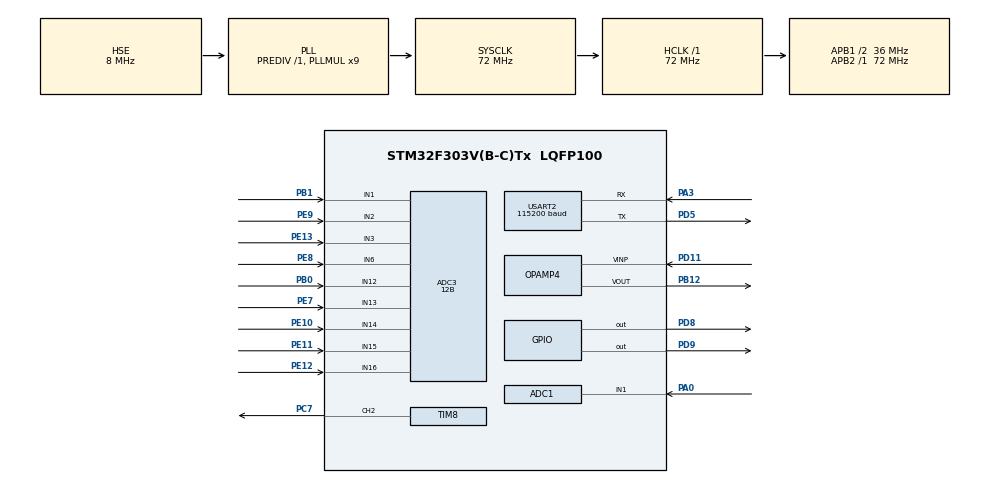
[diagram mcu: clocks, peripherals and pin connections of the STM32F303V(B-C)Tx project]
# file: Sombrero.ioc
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ADC1.Channel-0\#ChannelRegularConversion=ADC_CHANNEL_1
ADC1.ClockPrescaler=ADC_CLOCK_SYNC_PCLK_DIV2
ADC1.ContinuousConvMode=ENABLE
ADC1.DMAContinuousRequests=ENABLE
ADC1.DataAlign=ADC_DATAALIGN_RIGHT
ADC1.DiscontinuousConvMode=DISABLE
ADC1.EOCSelection=ADC_EOC_SEQ_CONV
ADC1.EnableAnalogWatchDog1=false
ADC1.EnableAnalogWatchDog2=false
ADC1.EnableAnalogWatchDog3=false
ADC1.EnableInjectedConversion=DISABLE
ADC1.EnableRegularConversion=ENABLE
ADC1.ExternalTrigConv=ADC_EXTERNALTRIGCONV_T8_TRGO2
ADC1.ExternalTrigConvEdge=ADC_EXTERNALTRIGCONVEDGE_RISING
ADC1.LowPowerAutoWait=DISABLE
ADC1.NbrOfConversion=1
ADC1.NbrOfConversionFlag=1
ADC1.Offset-0\#ChannelRegularConversion=0
ADC1.OffsetNumber-0\#ChannelRegularConversion=ADC_OFFSET_NONE
ADC1.Overrun=ADC_OVR_DATA_OVERWRITTEN
ADC1.Rank-0\#ChannelRegularConversion=1
ADC1.Resolution=ADC_RESOLUTION_12B
ADC1.SamplingTime-0\#ChannelRegularConversion=ADC_SAMPLETIME_601CYCLES_5
ADC1.ScanConvMode=ADC_SCAN_DISABLE
ADC1.master=1
ADC3.Channel-0\#ChannelRegularConversion=ADC_CHANNEL_3
ADC3.Channel-1\#ChannelRegularConversion=ADC_CHANNEL_16
ADC3.Channel-2\#ChannelRegularConversion=ADC_CHANNEL_15
ADC3.Channel-3\#ChannelRegularConversion=ADC_CHANNEL_14
ADC3.Channel-4\#ChannelRegularConversion=ADC_CHANNEL_2
ADC3.Channel-5\#ChannelRegularConversion=ADC_CHANNEL_6
ADC3.Channel-6\#ChannelRegularConversion=ADC_CHANNEL_13
ADC3.Channel-7\#ChannelRegularConversion=ADC_CHANNEL_1
ADC3.Channel-8\#ChannelRegularConversion=ADC_CHANNEL_12
ADC3.ClockPrescaler=ADC_CLOCK_SYNC_PCLK_DIV2
ADC3.ContinuousConvMode=ENABLE
ADC3.DMAContinuousRequests=ENABLE
ADC3.DataAlign=ADC_DATAALIGN_RIGHT
ADC3.DiscontinuousConvMode=DISABLE
ADC3.EOCSelection=ADC_EOC_SEQ_CONV
ADC3.EnableAnalogWatchDog1=false
ADC3.EnableAnalogWatchDog2=false
ADC3.EnableAnalogWatchDog3=false
ADC3.EnableInjectedConversion=DISABLE
ADC3.EnableRegularConversion=ENABLE
ADC3.ExternalTrigConv=ADC_EXTERNALTRIGCONV_T8_TRGO2
ADC3.ExternalTrigConvEdge=ADC_EXTERNALTRIGCONVEDGE_RISING
ADC3.LowPowerAutoWait=DISABLE
ADC3.NbrOfConversion=9
ADC3.NbrOfConversionFlag=1
ADC3.Offset-0\#ChannelRegularConversion=0
ADC3.Offset-1\#ChannelRegularConversion=0
ADC3.Offset-2\#ChannelRegularConversion=0
ADC3.Offset-3\#ChannelRegularConversion=0
ADC3.Offset-4\#ChannelRegularConversion=0
ADC3.Offset-5\#ChannelRegularConversion=0
ADC3.Offset-6\#ChannelRegularConversion=0
ADC3.Offset-7\#ChannelRegularConversion=0
ADC3.Offset-8\#ChannelRegularConversion=0
ADC3.OffsetNumber-0\#ChannelRegularConversion=ADC_OFFSET_NONE
ADC3.OffsetNumber-1\#ChannelRegularConversion=ADC_OFFSET_NONE
ADC3.OffsetNumber-2\#ChannelRegularConversion=ADC_OFFSET_NONE
ADC3.OffsetNumber-3\#ChannelRegularConversion=ADC_OFFSET_NONE
ADC3.OffsetNumber-4\#ChannelRegularConversion=ADC_OFFSET_NONE
ADC3.OffsetNumber-5\#ChannelRegularConversion=ADC_OFFSET_NONE
ADC3.OffsetNumber-6\#ChannelRegularConversion=ADC_OFFSET_NONE
ADC3.OffsetNumber-7\#ChannelRegularConversion=ADC_OFFSET_NONE
ADC3.OffsetNumber-8\#ChannelRegularConversion=ADC_OFFSET_NONE
ADC3.Overrun=ADC_OVR_DATA_OVERWRITTEN
ADC3.Rank-0\#ChannelRegularConversion=1
ADC3.Rank-1\#ChannelRegularConversion=2
ADC3.Rank-2\#ChannelRegularConversion=3
ADC3.Rank-3\#ChannelRegularConversion=4
ADC3.Rank-4\#ChannelRegularConversion=5
ADC3.Rank-5\#ChannelRegularConversion=6
ADC3.Rank-6\#ChannelRegularConversion=7
ADC3.Rank-7\#ChannelRegularConversion=8
ADC3.Rank-8\#ChannelRegularConversion=9
ADC3.Resolution=ADC_RESOLUTION_12B
ADC3.SamplingTime-0\#ChannelRegularConversion=ADC_SAMPLETIME_601CYCLES_5
ADC3.SamplingTime-1\#ChannelRegularConversion=ADC_SAMPLETIME_601CYCLES_5
ADC3.SamplingTime-2\#ChannelRegularConversion=ADC_SAMPLETIME_601CYCLES_5
ADC3.SamplingTime-3\#ChannelRegularConversion=ADC_SAMPLETIME_601CYCLES_5
ADC3.SamplingTime-4\#ChannelRegularConversion=ADC_SAMPLETIME_601CYCLES_5
ADC3.SamplingTime-5\#ChannelRegularConversion=ADC_SAMPLETIME_601CYCLES_5
ADC3.SamplingTime-6\#ChannelRegularConversion=ADC_SAMPLETIME_601CYCLES_5
ADC3.SamplingTime-7\#ChannelRegularConversion=ADC_SAMPLETIME_601CYCLES_5
ADC3.SamplingTime-8\#ChannelRegularConversion=ADC_SAMPLETIME_601CYCLES_5
ADC3.ScanConvMode=ADC_SCAN_ENABLE
ADC3.master=1
Dma.ADC1.0.Direction=DMA_PERIPH_TO_MEMORY
Dma.ADC1.0.Instance=DMA1_Channel1
Dma.ADC1.0.MemDataAlignment=DMA_MDATAALIGN_HALFWORD
Dma.ADC1.0.MemInc=DMA_MINC_ENABLE
Dma.ADC1.0.Mode=DMA_CIRCULAR
Dma.ADC1.0.PeriphDataAlignment=DMA_PDATAALIGN_HALFWORD
Dma.ADC1.0.PeriphInc=DMA_PINC_DISABLE
Dma.ADC1.0.Priority=DMA_PRIORITY_HIGH
Dma.ADC3.1.Direction=DMA_PERIPH_TO_MEMORY
Dma.ADC3.1.Instance=DMA2_Channel5
Dma.ADC3.1.MemDataAlignment=DMA_MDATAALIGN_HALFWORD
Dma.ADC3.1.MemInc=DMA_MINC_ENABLE
Dma.ADC3.1.Mode=DMA_CIRCULAR
Dma.ADC3.1.PeriphDataAlignment=DMA_PDATAALIGN_HALFWORD
Dma.ADC3.1.PeriphInc=DMA_PINC_DISABLE
Dma.ADC3.1.Priority=DMA_PRIORITY_HIGH
Dma.Request0=ADC1
Dma.Request1=ADC3
Mcu.Family=STM32F3
Mcu.Name=STM32F303V(B-C)Tx
Mcu.Package=LQFP100
NVIC.DMA1_Channel1_IRQn=true\:0\:0\:false\:false\:true\:false
NVIC.DMA2_Channel5_IRQn=true\:0\:0\:false\:false\:true\:false
NVIC.PriorityGroup=NVIC_PRIORITYGROUP_4
PA0.Mode=IN1-Single-Ended
PA0.Signal=ADC1_IN1
PA3.Mode=Asynchronous
PA3.Signal=USART2_RX
PB0.Mode=IN12-Single-Ended
PB0.Signal=ADC3_IN12
PB1.Mode=IN1-Single-Ended
PB1.Signal=ADC3_IN1
PB12.Mode=Follower
PB12.Signal=OPAMP4_VOUT
PC14-OSC32_IN.Mode=LSE-External-Oscillator
PC14-OSC32_IN.Signal=RCC_OSC32_IN
PC15-OSC32_OUT.Mode=LSE-External-Oscillator
PC15-OSC32_OUT.Signal=RCC_OSC32_OUT
PC7.Signal=S_TIM8_CH2
PD11.Mode=Follower
PD11.Signal=OPAMP4_VINP
PD5.Mode=Asynchronous
PD5.Signal=USART2_TX
PD8.Signal=GPIO_Output
PD9.Signal=GPIO_Output
PE10.Mode=IN14-Single-Ended
PE10.Signal=ADC3_IN14
PE11.Mode=IN15-Single-Ended
PE11.Signal=ADC3_IN15
PE12.Mode=IN16-Single-Ended
PE12.Signal=ADC3_IN16
PE13.Mode=IN3-Single-Ended
PE13.Signal=ADC3_IN3
PE7.Mode=IN13-Single-Ended
PE7.Signal=ADC3_IN13
PE8.Signal=ADCx_IN6P
PE9.Mode=IN2-Single-Ended
PE9.Signal=ADC3_IN2
PF0-OSC_IN.Mode=HSE-External-Oscillator
PF0-OSC_IN.Signal=RCC_OSC_IN
PF1-OSC_OUT.Mode=HSE-External-Oscillator
PF1-OSC_OUT.Signal=RCC_OSC_OUT
ProjectManager.HeapSize=0x200
ProjectManager.StackSize=0x400
ProjectManager.TargetToolchain=Makefile
RCC.AHBFreq_Value=72000000
RCC.APB1CLKDivider=RCC_HCLK_DIV2
RCC.APB1Freq_Value=36000000
RCC.APB1TimFreq_Value=72000000
RCC.APB2Freq_Value=72000000
RCC.APB2TimFreq_Value=72000000
RCC.CortexFreq_Value=72000000
RCC.HCLKFreq_Value=72000000
RCC.HSE_VALUE=8000000
RCC.HSI_VALUE=8000000
RCC.PLLMUL=RCC_PLL_MUL9
RCC.PLLSourceVirtual=RCC_PLLSOURCE_HSE
RCC.SYSCLKFreq_VALUE=72000000
RCC.SYSCLKSourceVirtual=RCC_SYSCLKSOURCE_PLLCLK
RCC.USBFreq_Value=72000000
RCC.Usart2ClockSelection=RCC_USART2CLKSOURCE_SYSCLK
SH.ADCx_IN6P.0=ADC3_IN6,IN6-Single-Ended
SH.S_TIM8_CH2.0=TIM8_CH2,PWM Generation2 CH2
TIM8.Channel-PWM\ Generation2\ CH2=TIM_CHANNEL_2
TIM8.Period=9999
TIM8.Prescaler=71
TIM8.TIM_MasterOutputTrigger2=TIM_TRGO2_OC2REF
USART2.BaudRate=115200
USART2.VirtualMode-Asynchronous=VM_ASYNC
board=custom

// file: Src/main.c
/**
  ******************************************************************************
  * @file           : main.c
  * @brief          : Main program body
  ******************************************************************************
  ** This notice applies to any and all portions of this file
  * that are not between comment pairs USER CODE BEGIN and
  * USER CODE END. Other portions of this file, whether
  * inserted by the user or by software development tools
  * are owned by their respective copyright owners.
  *
  * COPYRIGHT(c) 2019 STMicroelectronics
  *
  * Redistribution and use in source and binary forms, with or without modification,
  * are permitted provided that the following conditions are met:
  *   1. Redistributions of source code must retain the above copyright notice,
  *      this list of conditions and the following disclaimer.
  *   2. Redistributions in binary form must reproduce the above copyright notice,
  *      this list of conditions and the following disclaimer in the documentation
  *      and/or other materials provided with the distribution.
  *   3. Neither the name of STMicroelectronics nor the names of its contributors
  *      may be used to endorse or promote products derived from this software
  *      without specific prior written permission.
  *
  * THIS SOFTWARE IS PROVIDED BY THE COPYRIGHT HOLDERS AND CONTRIBUTORS "AS IS"
  * AND ANY EXPRESS OR IMPLIED WARRANTIES, INCLUDING, BUT NOT LIMITED TO, THE
  * IMPLIED WARRANTIES OF MERCHANTABILITY AND FITNESS FOR A PARTICULAR PURPOSE ARE
  * DISCLAIMED. IN NO EVENT SHALL THE COPYRIGHT HOLDER OR CONTRIBUTORS BE LIABLE
  * FOR ANY DIRECT, INDIRECT, INCIDENTAL, SPECIAL, EXEMPLARY, OR CONSEQUENTIAL
  * DAMAGES (INCLUDING, BUT NOT LIMITED TO, PROCUREMENT OF SUBSTITUTE GOODS OR
  * SERVICES; LOSS OF USE, DATA, OR PROFITS; OR BUSINESS INTERRUPTION) HOWEVER
  * CAUSED AND ON ANY THEORY OF LIABILITY, WHETHER IN CONTRACT, STRICT LIABILITY,
  * OR TORT (INCLUDING NEGLIGENCE OR OTHERWISE) ARISING IN ANY WAY OUT OF THE USE
  * OF THIS SOFTWARE, EVEN IF ADVISED OF THE POSSIBILITY OF SUCH DAMAGE.
  *
  ******************************************************************************
  */
#include "main.h"
#include "stm32f3xx_hal.h"
#include "adc.h"
#include "dma.h"
#include "opamp.h"
#include "tim.h"
#include "usart.h"
#include "gpio.h"

/* USER CODE BEGIN Includes */
#define ARM_MATH_CM4
#include "arm_math.h"
#include "ds18b20.h"
#include <math.h>
#include <string.h>
typedef float float32_t;
/* USER CODE END Includes */

/* USER CODE BEGIN PV */
/* Private variables ---------------------------------------------------------*/

#define true 1
#define false 0
#define MID_ADC_READING 2000

// Serial output buffer
char log_buffer[150];

// Flag
uint8_t readings_ready = false;

// Calibration
const float VOLTS_PER_DIV = (3.3 / 4096.0);
float VCAL = 268.97;
float ICAL = 90.9;

// ISR accumulators
typedef struct channel_
{
  uint64_t sum_V_sq;
  uint64_t sum_I_sq;
  int64_t sum_V;
  int64_t sum_I;
  int64_t sum_P;
  uint32_t count;

  uint8_t positive_V;
  uint8_t last_positive_V;
  uint8_t cycles;
} channel_t;

uint32_t pulseCount = 0;

//#define CTn 9 // number of CT channels
static channel_t channels[CTn];
static channel_t channels_copy[CTn];

/* USER CODE END PV */

void SystemClock_Config(void);

/* USER CODE BEGIN PFP */
/* Private function prototypes -----------------------------------------------*/
//#define ARM_MATH_CM4
//#include "arm_math.h"
/* USER CODE END PFP */

/* USER CODE BEGIN 0 */
void process_frame(uint16_t offset)
{
  int32_t sample_V, sample_I, signed_V, signed_I;

  HAL_GPIO_WritePin(GPIOD, GPIO_PIN_8, GPIO_PIN_SET);
  for (int i = 0; i < adc_buff_half_size; i += CTn)
  {
    // Cycle through channels
    for (int ch = 0; ch < CTn; ch++)
    {
      channel_t *channel = &channels[ch];

      // ----------------------------------------
      // Voltage
      //float32_t theresult;
      //arm_rms_f32(float* adc1_dma_buff, uint32_t* sizeof(adc1_dma_buff), float* theresult);
      sample_V = adc1_dma_buff[offset + i + ch];
      signed_V = sample_V - MID_ADC_READING;
      channel->sum_V += signed_V;
      channel->sum_V_sq += signed_V * signed_V;
      // ----------------------------------------
      // Current
      sample_I = adc3_dma_buff[offset + i + ch];
      signed_I = sample_I - MID_ADC_READING;
      channel->sum_I += signed_I;
      channel->sum_I_sq += signed_I * signed_I;
      // ----------------------------------------
      // Power
      channel->sum_P += signed_V * signed_I;

      channel->count++;

      // Zero crossing detection
      channel->last_positive_V = channel->positive_V;
      if (signed_V > 0)
        channel->positive_V = true;
      else
        channel->positive_V = false;
      if (!channel->last_positive_V && channel->positive_V)
        channel->cycles++;

      // 125 cycles or 2.5 seconds
      if (channel->cycles >= 125)
      {
        channel->cycles = 0;

        channel_t *chn = &channels_copy[ch];
        // Copy accumulators for use in main loop
        memcpy((void *)chn, (void *)channel, sizeof(channel_t));
        // Reset accumulators to zero ready for next set of measurements
        memset((void *)channel, 0, sizeof(channel_t));

        if (ch == (CTn - 1))
        {
          readings_ready = true;
          /*
          sprintf(log_buffer, "chn->sum_V_sq:%lld\r\n", chn->sum_V_sq);
          debug_printf(log_buffer);
          sprintf(log_buffer, "chn->sum_I_sq:%lld\r\n", chn->sum_I_sq);
          debug_printf(log_buffer);
          sprintf(log_buffer, "chn->sum_V:%lld\r\n", chn->sum_V);
          debug_printf(log_buffer);
          sprintf(log_buffer, "chn->sum_I:%lld\r\n", chn->sum_I);
          debug_printf(log_buffer);
          sprintf(log_buffer, "chn->sum_P:%lld\r\n", chn->sum_P);
          debug_printf(log_buffer);
          sprintf(log_buffer, "chn->count:%ld\r\n", chn->count);
          debug_printf(log_buffer);
          sprintf(log_buffer, "chn->positive_V:%d\r\n", chn->positive_V);
          debug_printf(log_buffer);
          sprintf(log_buffer, "chn->last_positive_V:%d\r\n", chn->last_positive_V);
          debug_printf(log_buffer);
          sprintf(log_buffer, "chn->cycles:%d\r\n", chn->cycles);
          debug_printf(log_buffer);

            uint32_t sum_V_sq;
            uint32_t sum_I_sq;
            int32_t sum_V;
            int32_t sum_I;
            int32_t sum_P;
            uint32_t count;

            uint8_t positive_V;
            uint8_t last_positive_V;
            uint8_t cycles;
            */
        }
      }
    }
  }
  HAL_GPIO_WritePin(GPIOD, GPIO_PIN_8, GPIO_PIN_RESET);
}

/* USER CODE END 0 */

int main(void)
{
  /* USER CODE BEGIN 1 */
  float V_RATIO = VCAL * VOLTS_PER_DIV;
  float I_RATIO = ICAL * VOLTS_PER_DIV;
  /* USER CODE END 1 */

  /* MCU Configuration----------------------------------------------------------*/

  /* Reset of all peripherals, Initializes the Flash interface and the Systick. */
  HAL_Init();

  /* Configure the system clock */
  SystemClock_Config();

  /* Initialize all configured peripherals */
  MX_GPIO_Init();
  MX_DMA_Init();
  MX_ADC3_Init();
  MX_ADC1_Init();
  MX_TIM8_Init();
  MX_USART2_UART_Init();
  MX_OPAMP4_Init();
  /* USER CODE BEGIN 2 */
  debug_printf("start\r\n");

  HAL_ADCEx_Calibration_Start(&hadc1, ADC_SINGLE_ENDED);
  HAL_ADCEx_Calibration_Start(&hadc3, ADC_SINGLE_ENDED);

  HAL_OPAMP_Start(&hopamp4);

  start_ADCs();

  /* USER CODE END 2 */

  /* Infinite loop */
  /* USER CODE BEGIN WHILE */
  while (1)
  {
    if (adc1_half_conv_complete && !adc1_half_conv_overrun)
    {
      adc1_half_conv_complete = false;
      process_frame(0);
    }

    if (adc1_full_conv_complete && !adc1_full_conv_overrun)
    {
      adc1_full_conv_complete = false;
      process_frame(adc_buff_half_size);
    }

    if (readings_ready)
    {
      readings_ready = false;
      //process_ds18b20s();

      for (int ch = 0; ch < CTn; ch++)
      {
        channel_t *chn = &channels_copy[ch];

        float Vmean = (float)chn->sum_V / (float)chn->count;
        float Imean = (float)chn->sum_I / (float)chn->count;

        float f32sum_V_sq_avg = (float)chn->sum_V_sq / (float)chn->count;
        f32sum_V_sq_avg -= (Vmean * Vmean); // offset removal

        float f32sum_I_sq_avg = (float)chn->sum_I_sq / (float)chn->count;
        f32sum_I_sq_avg -= (Imean * Imean); // offset removal

        if (f32sum_V_sq_avg < 0) // if offset removal cause a negative number,
          f32sum_V_sq_avg = 0;   // make it 0 to avoid a nan at sqrt.
        if (f32sum_I_sq_avg < 0)
          f32sum_I_sq_avg = 0;

        float Vrms = V_RATIO * sqrtf(f32sum_V_sq_avg);
        float Irms = I_RATIO * sqrtf(f32sum_I_sq_avg);

        //float* sqrtV_temp;
        //float* sqrtI_temp;
        //arm_sqrt_f32(f32sum_V_sq_avg, sqrtV_temp);
        //arm_sqrt_f32(f32sum_I_sq_avg, sqrtI_temp);
        //float Vrms = V_RATIO * *sqrtV_temp;
        //float Irms = I_RATIO * *sqrtI_temp;

        float f32_sum_P_avg = (float)chn->sum_P / (float)chn->count;
        float mean_P = f32_sum_P_avg - (Vmean * Imean); // offset removal
        float realPower = V_RATIO * I_RATIO * mean_P;

        float apparentPower = Vrms * Irms;

        float powerFactor;
        // calculate PF, preventing dividing by zero error.
        if (apparentPower != 0)
        {
          powerFactor = realPower / apparentPower;
        }
        else
          powerFactor = 0;

        sprintf(log_buffer, "V%d:%.2f,I%d:%.3f,RP%d:%.1f,AP%d:%.1f,PF%d:%.3f,C%d:%ld,", ch, Vrms, ch, Irms, ch, realPower, ch, apparentPower, ch, powerFactor, ch, chn->count);
        debug_printf(log_buffer);

        uint32_t current_millis = HAL_GetTick();
        sprintf(log_buffer, "millis:%ld\r\n", current_millis);
        debug_printf(log_buffer);

        //ref_rms_f32();
        //sprintf(log_buffer,"\r\n");
        //debug_printf(log_buffer);

      }
      sprintf(log_buffer, "PC:%ld\r\n", pulseCount);
        debug_printf(log_buffer);
    }

    /*
    if (readings_ready)
    {
      readings_ready = false;

      for (int n = 0; n < CTn; n++)
      {
        channel_t *chn = &channels_copy[n];

        float Vmean = chn->sum_V * (1.0 / chn->count);
        float Imean = chn->sum_I * (1.0 / chn->count);

        chn->sum_V_sq *= (1.0 / chn->count);
        chn->sum_V_sq -= (Vmean * Vmean);
        float Vrms = V_RATIO * sqrt((float)chn->sum_V_sq);

        chn->sum_I_sq *= (1.0 / chn->count);
        chn->sum_I_sq -= (Imean * Imean);
        float Irms = I_RATIO * sqrt((float)chn->sum_I_sq);

        float mean_P = (chn->sum_P * (1.0 / chn->count)) - (Vmean * Imean);
        float realPower = V_RATIO * I_RATIO * mean_P;

        float apparentPower = Vrms * Irms;
        float powerFactor = realPower / apparentPower;

        sprintf(log_buffer, "V%d:%.2f,I%d:%.3f,RP%d:%.1f,AP%d:%.1f,PF%d:%.3f,C%d:%ld,", n, Vrms, n, Irms, n, realPower, n, apparentPower, n, powerFactor, n, chn->count);
        debug_printf(log_buffer);

        uint32_t current_millis = HAL_GetTick();
        sprintf(log_buffer, "millis:%ld\r\n", current_millis);
        debug_printf(log_buffer);
        //debug_printf("\r\n");
      }

      //ref_rms_f32();
      //sprintf(log_buffer,"\r\n");
      //debug_printf(log_buffer);

      sprintf(log_buffer, "PC:%ld\r\n", pulseCount);
      debug_printf(log_buffer);
    }
    */
    /* USER CODE END WHILE */

  }
}

void SystemClock_Config(void)
{

  RCC_OscInitTypeDef RCC_OscInitStruct;
  RCC_ClkInitTypeDef RCC_ClkInitStruct;
  RCC_PeriphCLKInitTypeDef PeriphClkInit;

  /**Initializes the CPU, AHB and APB busses clocks
    */
  RCC_OscInitStruct.OscillatorType = RCC_OSCILLATORTYPE_HSE;
  RCC_OscInitStruct.HSEState = RCC_HSE_ON;
  RCC_OscInitStruct.HSEPredivValue = RCC_HSE_PREDIV_DIV1;
  RCC_OscInitStruct.HSIState = RCC_HSI_ON;
  RCC_OscInitStruct.PLL.PLLState = RCC_PLL_ON;
  RCC_OscInitStruct.PLL.PLLSource = RCC_PLLSOURCE_HSE;
  RCC_OscInitStruct.PLL.PLLMUL = RCC_PLL_MUL9;
  if (HAL_RCC_OscConfig(&RCC_OscInitStruct) != HAL_OK)
  {
    _Error_Handler(__FILE__, __LINE__);
  }

  /**Initializes the CPU, AHB and APB busses clocks
    */
  RCC_ClkInitStruct.ClockType = RCC_CLOCKTYPE_HCLK | RCC_CLOCKTYPE_SYSCLK | RCC_CLOCKTYPE_PCLK1 | RCC_CLOCKTYPE_PCLK2;
  RCC_ClkInitStruct.SYSCLKSource = RCC_SYSCLKSOURCE_PLLCLK;
  RCC_ClkInitStruct.AHBCLKDivider = RCC_SYSCLK_DIV1;
  RCC_ClkInitStruct.APB1CLKDivider = RCC_HCLK_DIV2;
  RCC_ClkInitStruct.APB2CLKDivider = RCC_HCLK_DIV1;

  if (HAL_RCC_ClockConfig(&RCC_ClkInitStruct, FLASH_LATENCY_2) != HAL_OK)
  {
    _Error_Handler(__FILE__, __LINE__);
  }

  PeriphClkInit.PeriphClockSelection = RCC_PERIPHCLK_USART2 | RCC_PERIPHCLK_TIM8;
  PeriphClkInit.Usart2ClockSelection = RCC_USART2CLKSOURCE_SYSCLK;
  PeriphClkInit.Tim8ClockSelection = RCC_TIM8CLK_HCLK;
  if (HAL_RCCEx_PeriphCLKConfig(&PeriphClkInit) != HAL_OK)
  {
    _Error_Handler(__FILE__, __LINE__);
  }

  /**Configure the Systick interrupt time
    */
  HAL_SYSTICK_Config(HAL_RCC_GetHCLKFreq() / 1000);

  /**Configure the Systick
    */
  HAL_SYSTICK_CLKSourceConfig(SYSTICK_CLKSOURCE_HCLK);

  /* SysTick_IRQn interrupt configuration */
  HAL_NVIC_SetPriority(SysTick_IRQn, 0, 0);
}

/* USER CODE BEGIN 4 */

void onPulse()
{
  pulseCount++;
}

/* USER CODE END 4 */

void _Error_Handler(char *file, int line)
{
  while (1)
  {
  }
}

/************************ (C) COPYRIGHT STMicroelectronics *****END OF FILE****/
